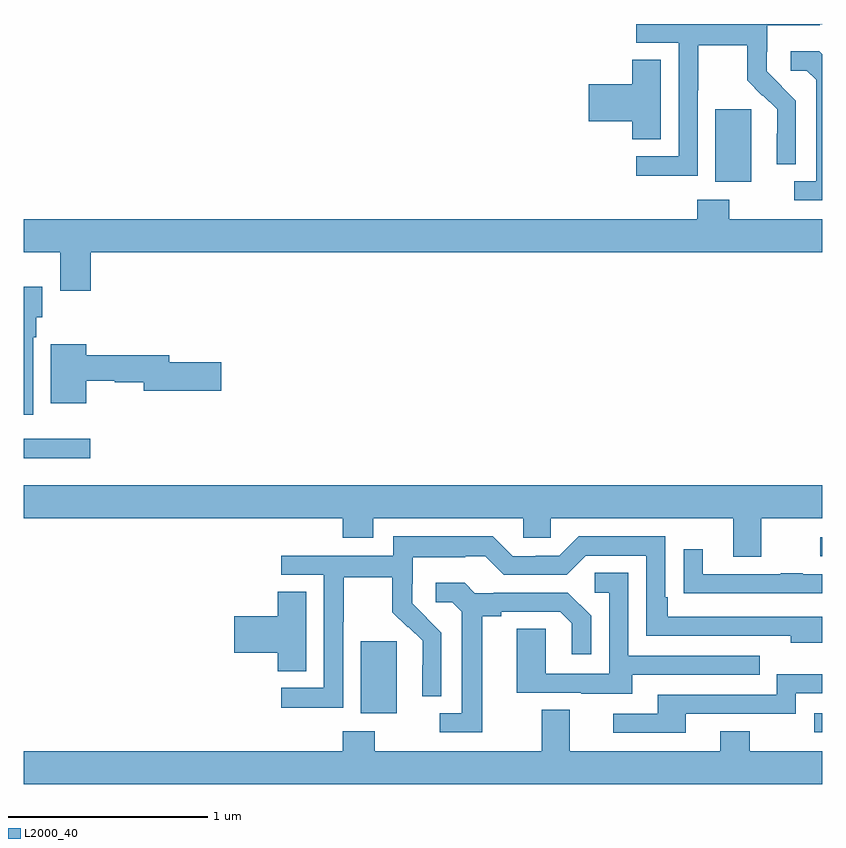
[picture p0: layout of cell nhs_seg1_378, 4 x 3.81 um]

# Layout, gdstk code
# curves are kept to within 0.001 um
import gdstk
lib = gdstk.Library(unit=1e-6, precision=1e-09)
def R(c, l, rs):  # rectangles x0, y0, x1, y1
    for r in rs: c.add(gdstk.rectangle(r[:2], r[2:], *l))
def P(c, l, *ps):  # polygons
    for p in ps: c.add(gdstk.Polygon(p, *l))
L2000_40 = (2000, 40)

nhs_seg1_378 = lib.new_cell('nhs_seg1_378')
R(nhs_seg1_378, L2000_40, [(134.961,558.651,135,558.747), (132.689,558.746,132.868,559.107), (134.991,559.533,135,559.629), (131,560.024,131.332,560.121), (134.465,561.41,134.644,561.771)])
P(nhs_seg1_378, L2000_40, [(134.376,561.868),(134.379,561.868),(134.379,562.092),(134.623,562.092),(134.623,561.917),(134.7,561.84),(134.703,561.843),(134.774,561.773),(134.774,561.65),(134.772,561.65),(134.772,561.496),(134.868,561.496),(134.868,561.814),(134.722,561.962),(134.722,562.059),(134.724,562.059),(134.724,562.193),(134.987,562.193),(134.987,562.197),(135,562.197),(135,562.199),(134.067,562.199),(134.067,562.104),(134.28,562.104),(134.28,561.537),(134.067,561.537),(134.067,561.439),(134.376,561.439)],
  [(135,562.047),(134.984,562.063),(134.841,562.063),(134.841,561.966),(134.922,561.966),(134.969,561.919),(134.969,561.411),(134.859,561.411),(134.859,561.315),(135,561.315)],
  [(134.191,562.019),(134.048,562.019),(134.048,561.896),(133.83,561.896),(133.83,561.713),(134.048,561.713),(134.048,561.622),(134.191,561.622)],
  [(131.336,561.056),(135,561.056),(135,561.22),(134.535,561.22),(134.535,561.319),(134.375,561.319),(134.375,561.22),(131,561.22),(131,561.056),(131.183,561.056),(131.183,560.862),(131.336,560.862)],
  [(131.047,560.63),(131.062,560.63),(131.062,560.73),(131.092,560.73),(131.092,560.884),(131,560.884),(131,560.241),(131.047,560.241)],
  [(131.314,560.412),(131.457,560.412),(131.457,560.404),(131.6,560.404),(131.6,560.362),(131.989,560.362),(131.989,560.504),(131.728,560.504),(131.728,560.54),(131.314,560.54),(131.314,560.596),(131.135,560.596),(131.135,560.3),(131.314,560.3)],
  [(134.695,559.724),(135,559.724),(135,559.888),(131,559.888),(131,559.724),(132.599,559.724),(132.599,559.625),(132.751,559.625),(132.751,559.724),(133.503,559.724),(133.503,559.626),(133.641,559.626),(133.641,559.724),(134.555,559.724),(134.555,559.53),(134.695,559.53)],
  [(132.6,559.204),(132.603,559.204),(132.603,559.428),(132.847,559.428),(132.847,559.253),(132.924,559.176),(132.927,559.179),(132.998,559.109),(132.998,558.986),(132.996,558.986),(132.996,558.832),(133.092,558.832),(133.092,559.15),(132.946,559.298),(132.946,559.395),(132.948,559.395),(132.948,559.529),(133.211,559.529),(133.211,559.533),(133.311,559.533),(133.404,559.44),(133.719,559.44),(133.815,559.536),(134.118,559.536),(134.118,559.134),(134.843,559.134),(134.843,559.1),(135,559.1),(135,559.23),(134.227,559.23),(134.227,559.327),(134.214,559.327),(134.214,559.632),(133.779,559.632),(133.683,559.536),(133.565,559.536),(133.565,559.533),(133.449,559.533),(133.349,559.633),(132.852,559.633),(132.852,559.536),(132.291,559.536),(132.291,559.44),(132.504,559.44),(132.504,558.873),(132.291,558.873),(132.291,558.775),(132.6,558.775)],
  [(135,559.443),(134.903,559.443),(134.903,559.448),(134.791,559.448),(134.791,559.443),(134.401,559.443),(134.401,559.567),(134.305,559.567),(134.305,559.348),(134.407,559.348),(134.407,559.347),(135,559.347)],
  [(134.047,558.939),(134.687,558.939),(134.687,559.035),(134.028,559.035),(134.028,559.451),(133.86,559.451),(133.86,559.35),(133.932,559.35),(133.932,558.945),(133.614,558.945),(133.614,559.169),(133.469,559.169),(133.469,558.849),(133.793,558.849),(133.793,558.845),(134.047,558.845)],
  [(133.297,559.232),(133.393,559.232),(133.393,559.254),(133.688,559.254),(133.745,559.197),(133.745,559.041),(133.842,559.041),(133.842,559.234),(133.726,559.35),(133.354,559.35),(133.354,559.347),(133.26,559.347),(133.208,559.399),(133.065,559.399),(133.065,559.302),(133.146,559.302),(133.193,559.255),(133.193,558.747),(133.083,558.747),(133.083,558.651),(133.297,558.651)],
  [(132.415,559.355),(132.272,559.355),(132.272,559.232),(132.054,559.232),(132.054,559.049),(132.272,559.049),(132.272,558.958),(132.415,558.958)],
  [(134.317,558.744),(134.868,558.744),(134.868,558.846),(135,558.846),(135,558.943),(134.772,558.943),(134.772,558.84),(134.177,558.84),(134.177,558.744),(133.953,558.744),(133.953,558.648),(134.317,558.648)],
  [(135,558.556),(134.637,558.556),(134.637,558.655),(134.489,558.655),(134.489,558.556),(133.735,558.556),(133.735,558.764),(133.595,558.764),(133.595,558.556),(132.759,558.556),(132.759,558.655),(132.599,558.655),(132.599,558.556),(131,558.556),(131,558.392),(135,558.392)])

lib.write_gds('nhs_seg1_378.gds')
